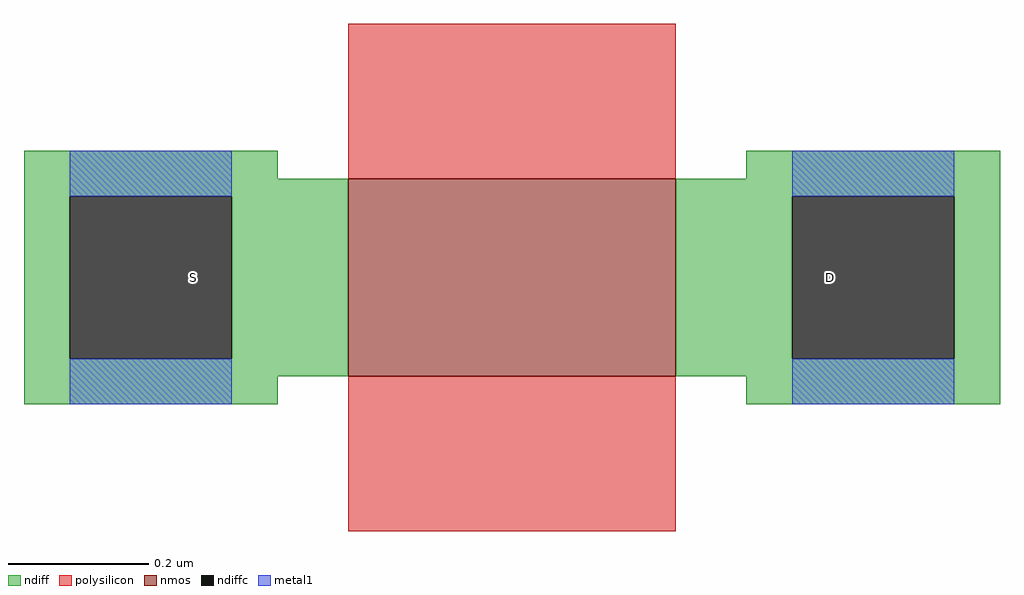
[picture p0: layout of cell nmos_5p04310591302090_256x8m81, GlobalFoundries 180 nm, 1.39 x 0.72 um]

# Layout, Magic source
magic
tech gf180mcuD
magscale 1 10
<< nmos >>
rect 0 0 93 56
<< ndiff >>
rect -92 56 -20 64
rect 113 56 185 64
rect -92 51 0 56
rect -92 5 -79 51
rect -33 5 0 51
rect -92 0 0 5
rect 93 51 185 56
rect 93 5 126 51
rect 172 5 185 51
rect 93 0 185 5
rect -92 -8 -20 0
rect 113 -8 185 0
<< ndiffc >>
rect -79 5 -33 51
rect 126 5 172 51
<< polysilicon >>
rect 0 56 93 100
rect 0 -44 93 0
<< metal1 >>
rect -79 51 -33 64
rect -79 -8 -33 5
rect 126 51 172 64
rect 126 -8 172 5
<< labels >>
flabel ndiffc -44 28 -44 28 0 FreeSans 93 0 0 0 S
flabel ndiffc 137 28 137 28 0 FreeSans 93 0 0 0 D
<< end >>
